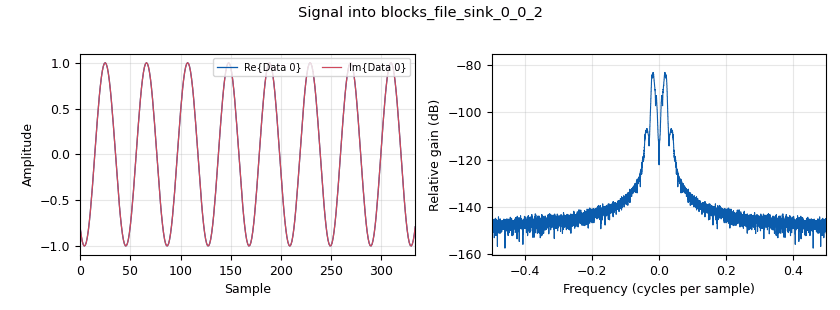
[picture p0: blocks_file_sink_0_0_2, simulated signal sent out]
options:
  parameters:
    generate_options: qt_gui
    id: fmcw_sim
    output_language: python
    title: Not titled yet
  states: {}

blocks:
- name: center_freq
  id: variable
  parameters:
    value: '100000000'
  states: {}
- name: samp_rate
  id: variable
  parameters:
    value: '20000000'
  states: {}
- name: analog_sig_source_x_0_0
  id: analog_sig_source_x
  parameters:
    amp: '1'
    freq: '1000'
    offset: '0'
    phase: '0'
    samp_rate: samp_rate
    type: float
    waveform: analog.GR_SAW_WAVE
  states: {}
- name: blocks_file_sink_0_0_2
  id: blocks_file_sink
  parameters:
    file: /home/gprlab/Desktop/gpr/gnu_log/chirp_stored20
    type: complex
  states: {}
- name: blocks_float_to_complex_0
  id: blocks_float_to_complex
  parameters: {}
  states: {}
- name: blocks_vco_f_0_0
  id: blocks_vco_f
  parameters:
    amplitude: '1'
    samp_rate: samp_rate
    sensitivity: 3140000*2
  states: {}
- name: note_0
  id: note
  parameters: {}
  states: {}

connections:
- [analog_sig_source_x_0_0, '0', blocks_vco_f_0_0, '0']
- [blocks_float_to_complex_0, '0', blocks_file_sink_0_0_2, '0']
- [blocks_vco_f_0_0, '0', blocks_float_to_complex_0, '0']
- [blocks_vco_f_0_0, '0', blocks_float_to_complex_0, '1']

metadata:
  file_format: 1
  grc_version: 3.9.8.0-rc1
